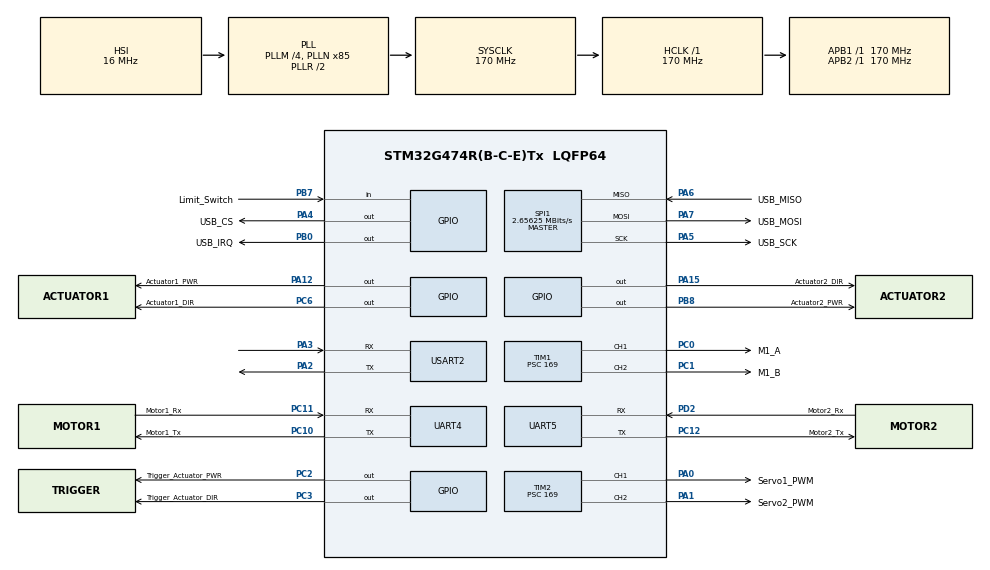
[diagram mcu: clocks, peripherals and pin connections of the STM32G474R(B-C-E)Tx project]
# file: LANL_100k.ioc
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Mcu.Family=STM32G4
Mcu.Name=STM32G474R(B-C-E)Tx
Mcu.Package=LQFP64
NVIC.PriorityGroup=NVIC_PRIORITYGROUP_4
NVIC.UART5_IRQn=true\:0\:0\:false\:false\:true\:true\:true\:true
NVIC.USART2_IRQn=true\:0\:0\:false\:false\:true\:true\:true\:true
PA0.GPIO_Label=Servo1_PWM
PA0.Signal=S_TIM2_CH1
PA1.GPIO_Label=Servo2_PWM
PA1.Signal=S_TIM2_CH2
PA12.GPIO_Label=Actuator1_PWR
PA12.PinState=GPIO_PIN_SET
PA12.Signal=GPIO_Output
PA13.GPIO_Label=T_SWDIO
PA13.Signal=SYS_JTMS-SWDIO
PA14.GPIO_Label=T_SWCLK
PA14.Signal=SYS_JTCK-SWCLK
PA15.GPIO_Label=Actuator2_DIR
PA15.PinState=GPIO_PIN_SET
PA15.Signal=GPIO_Output
PA2.Mode=Asynchronous
PA2.Signal=USART2_TX
PA3.Mode=Asynchronous
PA3.Signal=USART2_RX
PA4.GPIO_Label=USB_CS
PA4.PinState=GPIO_PIN_SET
PA4.Signal=GPIO_Output
PA5.GPIO_Label=USB_SCK
PA5.Mode=Full_Duplex_Master
PA5.Signal=SPI1_SCK
PA6.GPIO_Label=USB_MISO
PA6.Mode=Full_Duplex_Master
PA6.Signal=SPI1_MISO
PA7.GPIO_Label=USB_MOSI
PA7.Mode=Full_Duplex_Master
PA7.Signal=SPI1_MOSI
PB0.GPIO_Label=USB_IRQ
PB0.Signal=GPIO_Output
PB3.GPIO_Label=T_SWO
PB3.Signal=SYS_JTDO-SWO
PB7.GPIO_Label=Limit_Switch
PB7.GPIO_PuPd=GPIO_PULLDOWN
PB7.Signal=GPIO_Input
PB8-BOOT0.GPIO_Label=Actuator2_PWR
PB8-BOOT0.PinState=GPIO_PIN_SET
PB8-BOOT0.Signal=GPIO_Output
PC0.GPIO_Label=M1_A
PC0.Signal=S_TIM1_CH1
PC1.GPIO_Label=M1_B
PC1.Signal=S_TIM1_CH2
PC10.GPIO_Label=Motor1_Tx
PC10.Mode=Asynchronous
PC10.Signal=UART4_TX
PC11.GPIO_Label=Motor1_Rx
PC11.Mode=Asynchronous
PC11.Signal=UART4_RX
PC12.GPIO_Label=Motor2_Tx
PC12.Mode=Asynchronous
PC12.Signal=UART5_TX
PC14-OSC32_IN.GPIO_Label=RCC_OSC32_IN
PC14-OSC32_IN.Signal=RCC_OSC32_IN
PC15-OSC32_OUT.GPIO_Label=RCC_OSC32_OUT
PC15-OSC32_OUT.Signal=RCC_OSC32_OUT
PC2.GPIO_Label=Trigger_Actuator_PWR
PC2.Signal=GPIO_Output
PC3.GPIO_Label=Trigger_Actuator_DIR
PC3.Signal=GPIO_Output
PC6.GPIO_Label=Actuator1_DIR
PC6.PinState=GPIO_PIN_SET
PC6.Signal=GPIO_Output
PD2.GPIO_Label=Motor2_Rx
PD2.Mode=Asynchronous
PD2.Signal=UART5_RX
PF0-OSC_IN.GPIO_Label=RCC_OSC_IN
PF0-OSC_IN.Signal=RCC_OSC_IN
PF1-OSC_OUT.GPIO_Label=RCC_OSC_OUT
PF1-OSC_OUT.Signal=RCC_OSC_OUT
ProjectManager.HeapSize=0x200
ProjectManager.StackSize=0x400
ProjectManager.TargetToolchain=STM32CubeIDE
RCC.ADC12Freq_Value=170000000
RCC.ADC345Freq_Value=170000000
RCC.AHBFreq_Value=170000000
RCC.APB1Freq_Value=170000000
RCC.APB1TimFreq_Value=170000000
RCC.APB2Freq_Value=170000000
RCC.APB2TimFreq_Value=170000000
RCC.CortexFreq_Value=170000000
RCC.EXTERNAL_CLOCK_VALUE=12288000
RCC.HCLKFreq_Value=170000000
RCC.HSE_VALUE=24000000
RCC.HSI48_VALUE=48000000
RCC.HSI_VALUE=16000000
RCC.LSE_VALUE=32768
RCC.PLLM=RCC_PLLM_DIV4
RCC.PLLN=85
RCC.RTCClockSelection=RCC_RTCCLKSOURCE_LSE
RCC.SYSCLKFreq_VALUE=170000000
RCC.SYSCLKSource=RCC_SYSCLKSOURCE_PLLCLK
RCC.USBFreq_Value=170000000
RCC.VCOOutputFreq_Value=340000000
SH.S_TIM1_CH1.0=TIM1_CH1,PWM Generation1 CH1
SH.S_TIM1_CH2.0=TIM1_CH2,PWM Generation2 CH2
SH.S_TIM2_CH1.0=TIM2_CH1,PWM Generation1 CH1
SH.S_TIM2_CH2.0=TIM2_CH2,PWM Generation2 CH2
SPI1.BaudRatePrescaler=SPI_BAUDRATEPRESCALER_64
SPI1.CLKPhase=SPI_PHASE_1EDGE
SPI1.CLKPolarity=SPI_POLARITY_LOW
SPI1.CalculateBaudRate=2.65625 MBits/s
SPI1.DataSize=SPI_DATASIZE_8BIT
SPI1.Direction=SPI_DIRECTION_2LINES
SPI1.Mode=SPI_MODE_MASTER
SPI1.VirtualType=VM_MASTER
TIM1.AutoReloadPreload=TIM_AUTORELOAD_PRELOAD_ENABLE
TIM1.Channel-PWM\ Generation1\ CH1=TIM_CHANNEL_1
TIM1.Channel-PWM\ Generation2\ CH2=TIM_CHANNEL_2
TIM1.OCFastMode_PWM-PWM\ Generation1\ CH1=TIM_OCFAST_ENABLE
TIM1.OCFastMode_PWM-PWM\ Generation2\ CH2=TIM_OCFAST_ENABLE
TIM1.PeriodNoDither=3029
TIM1.Prescaler=169
TIM2.AutoReloadPreload=TIM_AUTORELOAD_PRELOAD_ENABLE
TIM2.Channel-PWM\ Generation1\ CH1=TIM_CHANNEL_1
TIM2.Channel-PWM\ Generation2\ CH2=TIM_CHANNEL_2
TIM2.PeriodNoDither=3030
TIM2.Prescaler=169
USART2.VirtualMode-Asynchronous=VM_ASYNC
VP_SYS_VS_DBSignals.Mode=DisableDeadBatterySignals
board=NUCLEO-G474RE

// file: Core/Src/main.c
/* USER CODE BEGIN Header */
/**
  ******************************************************************************
  * @file           : main.c
  * @brief          : Main program body
  ******************************************************************************
  * @attention
  *
  * Copyright (c) 2026 STMicroelectronics.
  * All rights reserved.
  *
  * This software is licensed under terms that can be found in the LICENSE file
  * in the root directory of this software component.
  * If no LICENSE file comes with this software, it is provided AS-IS.
  *
  ******************************************************************************
  */
/* USER CODE END Header */
#include "main.h"

/* USER CODE BEGIN Includes */
/**
 * Development of Instrumentation for Grab Sampling in 100k Tank
 * Use a USB port for USART2 communications. Use a serial PuTTY terminal on select COM# port with 115200 baud
 * Do not use HAL_DELAY inside the while inside keystroke timer logic, Sampling script should exist outside of this timer.
 * Many of the Current User Functions for Motion Aren't currently implemented in the While() core of the Program
 */
/* USER CODE END Includes */

SPI_HandleTypeDef hspi1;

TIM_HandleTypeDef htim1;
TIM_HandleTypeDef htim2;

UART_HandleTypeDef huart4;
UART_HandleTypeDef huart5;
UART_HandleTypeDef huart2;

/* USER CODE BEGIN PV */

UART_HandleTypeDef huart2;

uint8_t g_key_data = 0;      // Stores the received character
uint8_t g_new_key_flag = 0;

uint8_t tx_buffer[27] = "GRAB SAMPLER READY\n\r";
uint8_t tx_return[4] = "\n\r";
uint8_t rx_indx;
uint8_t rx_data[1];
uint8_t rx_buffer[100];
uint8_t transfer_cplt;
/*
 * Duty: 0 -> STM32 Hex: {0x80, 0x20, 0x00, 0x00, 0x5B, 0xFE}
Duty: 4000 -> STM32 Hex: {0x80, 0x20, 0x0F, 0xA0, 0xFE, 0x2A}
Duty: 8000 -> STM32 Hex: {0x80, 0x20, 0x1F, 0x40, 0x00, 0x77}
Duty: 10000 -> STM32 Hex: {0x80, 0x20, 0x27, 0x10, 0xD6, 0xBE}
Duty: 20000 -> STM32 Hex: {0x80, 0x20, 0x4E, 0x20, 0x51, 0x5F}
Duty: 25000 -> STM32 Hex: {0x80, 0x20, 0x61, 0xA8, 0x57, 0x07}
Duty: 30000 -> STM32 Hex: {0x80, 0x20, 0x75, 0x30, 0x9A, 0x01}
Duty: 32000 -> STM32 Hex: {0x80, 0x20, 0x7D, 0x00, 0x25, 0xFB}
Duty: 30000 -> STM32 Hex: {0x80, 0x20, 0x75, 0x30, 0x9A, 0x01}
Duty: 25000 -> STM32 Hex: {0x80, 0x20, 0x61, 0xA8, 0x57, 0x07}
Duty: 20000 -> STM32 Hex: {0x80, 0x20, 0x4E, 0x20, 0x51, 0x5F}
Duty: 10000 -> STM32 Hex: {0x80, 0x20, 0x27, 0x10, 0xD6, 0xBE}
Duty: 8000 -> STM32 Hex: {0x80, 0x20, 0x1F, 0x40, 0x00, 0x77}
Duty: 4000 -> STM32 Hex: {0x80, 0x20, 0x0F, 0xA0, 0xFE, 0x2A}
Duty: 0 -> STM32 Hex: {0x80, 0x20, 0x00, 0x00, 0x5B, 0xFE}

 */

const uint8_t RC_ACCEL_FULLFORWARD[] = {0x80, 0x34, 0x75, 0x30, 0x00, 0x00, 0x17, 0x70, 0x8B, 0xCA};//Acceleration Commands ripped from Arduino Libraries
const uint8_t RC_ACCEL_FULLREVERSE[] = {0x80, 0x34, 0x8A, 0xD0, 0x00, 0x00, 0x17, 0x70, 0xE4, 0x79};
const uint8_t RC_ACCEL_STOP[] = {0x80, 0x34, 0x00, 0x00, 0x00, 0x00, 0x17, 0x70, 0x81, 0xB9};

//uint8_t sampling_halt_flag = 0;
/* USER CODE END PV */

void SystemClock_Config(void);
static void MX_GPIO_Init(void);
static void MX_SPI1_Init(void);
static void MX_TIM2_Init(void);
static void MX_UART4_Init(void);
static void MX_UART5_Init(void);
static void MX_TIM1_Init(void);
static void MX_USART2_UART_Init(void);
/* USER CODE BEGIN PFP */

uint8_t MAX_Register_Read(uint8_t reg)//For USB Host Shield When Implemented
{
	uint8_t address = (reg << 3) | 0x00;//Address
	uint8_t data = 0;//RD/WR
	uint8_t dummy = 0x00;
	//CS to activate
	HAL_GPIO_WritePin(USB_CS_GPIO_Port, USB_CS_Pin, GPIO_PIN_RESET);
	//for(volatile int i=0; i<100; i++);
	//Send Register Request 8bits
	HAL_SPI_Transmit(&hspi1,&address,1,10);
	//REceieve Reg COntent 8bits
	HAL_SPI_TransmitReceive(&hspi1, &dummy, &data, 1, 10);

	HAL_SPI_Transmit(&hspi1,&address,1,10);
		//REceieve Reg COntent 8bits
		HAL_SPI_TransmitReceive(&hspi1, &dummy, &data, 1, 10);
	//Kill CS to end
	//for(volatile int i=0; i<100; i++);
	HAL_GPIO_WritePin(USB_CS_GPIO_Port, USB_CS_Pin, GPIO_PIN_SET);
	return data;
}

void Screw_Forward(void){}
void Screw_Backward(void){}
void Screw_Pivot_Left(void){}
void Screw_Pivot_Right(void){}
void Screw_Stop(void){}

void Change_Barrell(void){}
void Drill_Forward(void){}
void Drill_Reverse(void){}
void Drill_Stop(void){}

void Actuator1_Forward(void)
{
	if(HAL_GPIO_ReadPin(Actuator1_DIR_GPIO_Port,Actuator1_DIR_Pin) == GPIO_PIN_RESET){
		return;
		}
		else{
			HAL_GPIO_WritePin(Actuator1_PWR_GPIO_Port,    Actuator1_PWR_Pin,    GPIO_PIN_RESET);     // Power off
			HAL_Delay(5);
			HAL_GPIO_WritePin(Actuator1_DIR_GPIO_Port, Actuator1_DIR_Pin, GPIO_PIN_RESET);  // Forward direction
			HAL_Delay(5);
			HAL_GPIO_WritePin(Actuator1_PWR_GPIO_Port,    Actuator1_PWR_Pin,    GPIO_PIN_SET);     // Power on
		}
}

/* Turn on Actuator 1 Reverse */
void Actuator1_Reverse(void)
{
	if(HAL_GPIO_ReadPin(Actuator1_DIR_GPIO_Port,Actuator1_DIR_Pin) == GPIO_PIN_SET){
		return;
	}
	else{
	    HAL_GPIO_WritePin(Actuator1_PWR_GPIO_Port,    Actuator1_PWR_Pin,    GPIO_PIN_RESET);    // Power off
	    HAL_Delay(5);
	    HAL_GPIO_WritePin(Actuator1_DIR_GPIO_Port, Actuator1_DIR_Pin, GPIO_PIN_SET);    // Reverse direction
	    HAL_Delay(5);
	    HAL_GPIO_WritePin(Actuator1_PWR_GPIO_Port,    Actuator1_PWR_Pin,    GPIO_PIN_SET);    // Power on
	}
}

/* Turn off Actuator 1 */
void Actuator1_Stop(void)
{
    HAL_GPIO_WritePin(Actuator1_PWR_GPIO_Port, Actuator1_PWR_Pin, GPIO_PIN_RESET);
    HAL_GPIO_WritePin(Actuator1_DIR_GPIO_Port, Actuator1_DIR_Pin, GPIO_PIN_RESET);// Power off
}

/* Turn on Actuator 2 Forward */
void Actuator2_Forward(void)
{
	if(HAL_GPIO_ReadPin(Actuator2_DIR_GPIO_Port,Actuator2_DIR_Pin) == GPIO_PIN_RESET){
		return;
	}
	else{
		HAL_GPIO_WritePin(Actuator2_PWR_GPIO_Port,    Actuator2_PWR_Pin,    GPIO_PIN_RESET);     // Power off
		HAL_Delay(5);
		HAL_GPIO_WritePin(Actuator2_DIR_GPIO_Port, Actuator2_DIR_Pin, GPIO_PIN_RESET);  // Forward direction
		HAL_Delay(5);
		HAL_GPIO_WritePin(Actuator2_PWR_GPIO_Port,    Actuator2_PWR_Pin,    GPIO_PIN_SET);     // Power on
	}
}

/* Turn on Actuator 2 Reverse */
void Actuator2_Reverse(void)
{
	if(HAL_GPIO_ReadPin(Actuator2_DIR_GPIO_Port,Actuator2_DIR_Pin) == GPIO_PIN_SET){
		return;
	}
	else{
		HAL_GPIO_WritePin(Actuator2_PWR_GPIO_Port, Actuator2_PWR_Pin, GPIO_PIN_RESET);    // Power off
		HAL_Delay(5);
		HAL_GPIO_WritePin(Actuator2_DIR_GPIO_Port, Actuator2_DIR_Pin, GPIO_PIN_SET);    // Reverse direction
		HAL_Delay(5);
		HAL_GPIO_WritePin(Actuator2_PWR_GPIO_Port,    Actuator2_PWR_Pin,    GPIO_PIN_SET);    // Power on
	}
}

/* Turn off Actuator 2 */
void Actuator2_Stop(void)
{
    HAL_GPIO_WritePin(Actuator2_PWR_GPIO_Port, Actuator2_PWR_Pin, GPIO_PIN_RESET);
    HAL_GPIO_WritePin(Actuator2_DIR_GPIO_Port, Actuator2_DIR_Pin, GPIO_PIN_RESET);// Power off
}
/* Turn on Trigger Controlling Actuator in reverse */
void Trigger_Actuator_Reverse(void)
{
	if(HAL_GPIO_ReadPin(Trigger_Actuator_DIR_GPIO_Port,Trigger_Actuator_DIR_Pin) == GPIO_PIN_RESET){
		return;
	}
	else{
		HAL_GPIO_WritePin(Trigger_Actuator_PWR_GPIO_Port,    Trigger_Actuator_PWR_Pin,    GPIO_PIN_RESET);     // Power off
		HAL_Delay(5);
		HAL_GPIO_WritePin(Trigger_Actuator_DIR_GPIO_Port, Trigger_Actuator_DIR_Pin, GPIO_PIN_RESET);  // Forward direction
		HAL_Delay(5);
		HAL_GPIO_WritePin(Trigger_Actuator_PWR_GPIO_Port,    Trigger_Actuator_PWR_Pin,    GPIO_PIN_SET);     // Power on
	}
}

/* Turn on Trigger controller forward */
void Trigger_Actuator_Forward(void)
{
	if(HAL_GPIO_ReadPin(Trigger_Actuator_DIR_GPIO_Port,Trigger_Actuator_DIR_Pin) == GPIO_PIN_SET){
		return;
	}
	else{
		HAL_GPIO_WritePin(Trigger_Actuator_PWR_GPIO_Port, Trigger_Actuator_PWR_Pin, GPIO_PIN_RESET);    // Power off
		HAL_Delay(5);
		HAL_GPIO_WritePin(Trigger_Actuator_DIR_GPIO_Port, Trigger_Actuator_DIR_Pin, GPIO_PIN_SET);    // Reverse direction
		HAL_Delay(5);
		HAL_GPIO_WritePin(Trigger_Actuator_PWR_GPIO_Port,    Trigger_Actuator_PWR_Pin,    GPIO_PIN_SET);    // Power on
	}
}

/* Turn off Trigger Controlling Actuator */
void Trigger_Actuator_Stop(void)
{
    HAL_GPIO_WritePin(Trigger_Actuator_PWR_GPIO_Port, Trigger_Actuator_PWR_Pin, GPIO_PIN_RESET);
    HAL_GPIO_WritePin(Trigger_Actuator_DIR_GPIO_Port, Trigger_Actuator_DIR_Pin, GPIO_PIN_RESET);// Power off
}
void M1_A(void)
{
    HAL_GPIO_WritePin(M1_A_GPIO_Port, M1_A_Pin, GPIO_PIN_SET);
}
// Function to set roller motor speed as a percentage
void M1_Fwd_Set_Speed(float Full_Speed_Percent){

	//uint8_t periodSet = Full_Speed_Percent;

}
void Sampling_Script(void)
{
	/*
	 * Rotate barrel to empty sample
	 * Push drill, rotate to engage lock
	 * Pull Drill and Sample bit out of barrel changer
	 * Maybe re adjust the Barrel
	 * Raise sampling platform
	 * Correct drill direction and start drill
	 * Push drill into ground while Drilling to cut sample
	 * Stop Drill
	 * Pull drill out of ground
	 * lower platform
	 * Adjust Barrel
	 * push sample into barrel
	 * Reverse drill direction with short rotation
	 * Pull drill a little
	 *
	 * -----End of process.
	 */
}

/* USER CODE END PFP */

int main(void)
{

  /* MCU Configuration--------------------------------------------------------*/

  /* Reset of all peripherals, Initializes the Flash interface and the Systick. */
  HAL_Init();

  /* Configure the system clock */
  SystemClock_Config();

  /* Initialize all configured peripherals */
  MX_GPIO_Init();
  MX_SPI1_Init();
  MX_TIM2_Init();
  MX_UART4_Init();
  MX_UART5_Init();
  MX_TIM1_Init();
  MX_USART2_UART_Init();
  /* USER CODE BEGIN 2 */
  uint32_t lskeytime = 0;//Keystroke Timer Variables
  const uint32_t timeout = 250;//Refresh time ms
  char input = 0;

  HAL_TIM_PWM_Start(&htim2, TIM_CHANNEL_1);// Initialize/Default spot for PWM servo
  __HAL_TIM_SET_COMPARE(&htim2, TIM_CHANNEL_1, 1500);
  uint32_t servoPos = 1495;

  HAL_UART_Transmit(&huart2, tx_buffer, 27, 10);//Welcome Message send
  Actuator1_Stop();//Put initial states for pins here if not initialized
  Actuator2_Stop();
  Trigger_Actuator_Stop();

  /* USER CODE END 2 */

  /* Infinite loop */
  while (1){

    /* USER CODE BEGIN 3 */
	  if (HAL_GPIO_ReadPin(Limit_Switch_GPIO_Port, Limit_Switch_Pin) == GPIO_PIN_SET) {//Stops Sampling Arm at Horizontal
			  if (input != 'q' && input != 'Q'){//Prevents Locking While Horizontal
	  	       Actuator1_Stop();
	          }
	  }
	__HAL_TIM_SET_COMPARE(&htim2, TIM_CHANNEL_1, servoPos);
/*	if (sampling_halt_flag[0] == 1)// Proto script for a sampling process
	{
		  Stop_All();
		  Hal_Delay(100);
		  Sampling_Script();
		  HAL_Delay(100);
		  sampling_halt_flag[0] = 0;
	}  */
	if (HAL_UART_Receive(&huart2, rx_data,1,10) == HAL_OK){
		input = (char)rx_data[0];
		lskeytime = HAL_GetTick();
		// For Demonstration HAL_UART_Transmit(&huart2, rx_data, 1, 10); // Returns Current Key to Port for debugging

		if (input == 'q' || input == 'Q'){// Extend Actuator 1
			HAL_GPIO_WritePin(Actuator1_PWR_GPIO_Port, Actuator1_PWR_Pin, GPIO_PIN_SET);
			HAL_GPIO_WritePin(Actuator1_DIR_GPIO_Port, Actuator1_DIR_Pin, GPIO_PIN_RESET);
		}
		if (input == 'w' || input == 'W'){// Extend Actuator 2
			HAL_GPIO_WritePin(Actuator2_PWR_GPIO_Port, Actuator2_PWR_Pin, GPIO_PIN_SET);
			HAL_GPIO_WritePin(Actuator2_DIR_GPIO_Port, Actuator2_DIR_Pin, GPIO_PIN_RESET);
		}
		if (input == 'e' || input == 'E'){// Small Servo Limits at around 310 and 2670
			//__HAL_TIM_SET_COMPARE(&htim2, TIM_CHANNEL_1, servoPos);// Move Servo to Position
			if (servoPos <= 2670){
				servoPos = servoPos + 20;
			}
		}
		if (input == 'r' || input == 'R'){// Trigger Actuator
			HAL_GPIO_WritePin(Trigger_Actuator_PWR_GPIO_Port, Trigger_Actuator_PWR_Pin, GPIO_PIN_SET);
			HAL_GPIO_WritePin(Trigger_Actuator_DIR_GPIO_Port, Trigger_Actuator_DIR_Pin, GPIO_PIN_SET);
		}
		if (input == 't' || input == 'T'){// Extend Actuator 2

		}
		if (input == 'a' || input == 'A'){// Retract Actuator 1

			if (HAL_GPIO_ReadPin(Limit_Switch_GPIO_Port, Limit_Switch_Pin) == GPIO_PIN_RESET) {// Unless Limit Is Hit
				HAL_GPIO_WritePin(Actuator1_PWR_GPIO_Port, Actuator1_PWR_Pin, GPIO_PIN_SET);
				HAL_GPIO_WritePin(Actuator1_DIR_GPIO_Port, Actuator1_DIR_Pin, GPIO_PIN_SET);

			}
		}
		if (input == 's' || input == 'S'){// Retract Actuator 2
			HAL_GPIO_WritePin(Actuator2_PWR_GPIO_Port, Actuator2_PWR_Pin, GPIO_PIN_SET);
			HAL_GPIO_WritePin(Actuator2_DIR_GPIO_Port, Actuator2_DIR_Pin, GPIO_PIN_SET);
		}
		if (input == 'd' || input == 'D'){//Direction Servo Controls, Use servoPos to gradually change and COMPARE to set position
			//__HAL_TIM_SET_COMPARE(&htim2, TIM_CHANNEL_1, servoPos);
			if (servoPos >= 310){
			servoPos = servoPos - 20;
			}
		}
		if (input == 'f' || input == 'F'){// Extend Drill Trigger Actuator
			HAL_GPIO_WritePin(Trigger_Actuator_DIR_GPIO_Port, Trigger_Actuator_DIR_Pin, GPIO_PIN_RESET);
			HAL_GPIO_WritePin(Trigger_Actuator_PWR_GPIO_Port, Trigger_Actuator_PWR_Pin, GPIO_PIN_SET);
		}
		if (input == 'g' || input == 'G'){// Extend Actuator 2

		}
		if (input == 'i' || input == 'I'){// Left Motor Control
					HAL_UART_Transmit(&huart5, (uint8_t*)RC_ACCEL_FULLFORWARD, 10, 10);  // Forward direction
				}
		if (input == 'k' || input == 'K'){// Left Motor Control
					HAL_UART_Transmit(&huart5, (uint8_t*)RC_ACCEL_FULLREVERSE, 10, 10);  // Forward direction
				}
		if (input == 'y' || input == 'Y'){//

		}
		if (input == 'h' || input == 'H'){//

		}
		if (input == ' '){// MISC Reverse
			Actuator1_Stop();
			Actuator2_Stop();
			Trigger_Actuator_Stop();

		}
	}
	if (input != 0 && (HAL_GetTick() - lskeytime > timeout)){
/* For Demonstration
		Actuator1_Stop();
		Actuator2_Stop();
		Trigger_Actuator_Stop();
*/
		HAL_UART_Transmit(&huart5, (uint8_t*)RC_ACCEL_STOP, 10, 10);
		input = 0;

	}
	 //Control and Comms Logic

  }
  /* USER CODE END 3 */
}

void SystemClock_Config(void)
{
  RCC_OscInitTypeDef RCC_OscInitStruct = {0};
  RCC_ClkInitTypeDef RCC_ClkInitStruct = {0};

  /** Configure the main internal regulator output voltage
  */
  HAL_PWREx_ControlVoltageScaling(PWR_REGULATOR_VOLTAGE_SCALE1_BOOST);

  /** Initializes the RCC Oscillators according to the specified parameters
  * in the RCC_OscInitTypeDef structure.
  */
  RCC_OscInitStruct.OscillatorType = RCC_OSCILLATORTYPE_HSI;
  RCC_OscInitStruct.HSIState = RCC_HSI_ON;
  RCC_OscInitStruct.HSICalibrationValue = RCC_HSICALIBRATION_DEFAULT;
  RCC_OscInitStruct.PLL.PLLState = RCC_PLL_ON;
  RCC_OscInitStruct.PLL.PLLSource = RCC_PLLSOURCE_HSI;
  RCC_OscInitStruct.PLL.PLLM = RCC_PLLM_DIV4;
  RCC_OscInitStruct.PLL.PLLN = 85;
  RCC_OscInitStruct.PLL.PLLP = RCC_PLLP_DIV2;
  RCC_OscInitStruct.PLL.PLLQ = RCC_PLLQ_DIV2;
  RCC_OscInitStruct.PLL.PLLR = RCC_PLLR_DIV2;
  if (HAL_RCC_OscConfig(&RCC_OscInitStruct) != HAL_OK)
  {
    Error_Handler();
  }

  /** Initializes the CPU, AHB and APB buses clocks
  */
  RCC_ClkInitStruct.ClockType = RCC_CLOCKTYPE_HCLK|RCC_CLOCKTYPE_SYSCLK
                              |RCC_CLOCKTYPE_PCLK1|RCC_CLOCKTYPE_PCLK2;
  RCC_ClkInitStruct.SYSCLKSource = RCC_SYSCLKSOURCE_PLLCLK;
  RCC_ClkInitStruct.AHBCLKDivider = RCC_SYSCLK_DIV1;
  RCC_ClkInitStruct.APB1CLKDivider = RCC_HCLK_DIV1;
  RCC_ClkInitStruct.APB2CLKDivider = RCC_HCLK_DIV1;

  if (HAL_RCC_ClockConfig(&RCC_ClkInitStruct, FLASH_LATENCY_4) != HAL_OK)
  {
    Error_Handler();
  }
}

static void MX_SPI1_Init(void)
{

  /* SPI1 parameter configuration*/
  hspi1.Instance = SPI1;
  hspi1.Init.Mode = SPI_MODE_MASTER;
  hspi1.Init.Direction = SPI_DIRECTION_2LINES;
  hspi1.Init.DataSize = SPI_DATASIZE_8BIT;
  hspi1.Init.CLKPolarity = SPI_POLARITY_LOW;
  hspi1.Init.CLKPhase = SPI_PHASE_1EDGE;
  hspi1.Init.NSS = SPI_NSS_SOFT;
  hspi1.Init.BaudRatePrescaler = SPI_BAUDRATEPRESCALER_64;
  hspi1.Init.FirstBit = SPI_FIRSTBIT_MSB;
  hspi1.Init.TIMode = SPI_TIMODE_DISABLE;
  hspi1.Init.CRCCalculation = SPI_CRCCALCULATION_DISABLE;
  hspi1.Init.CRCPolynomial = 7;
  hspi1.Init.CRCLength = SPI_CRC_LENGTH_DATASIZE;
  hspi1.Init.NSSPMode = SPI_NSS_PULSE_ENABLE;
  if (HAL_SPI_Init(&hspi1) != HAL_OK)
  {
    Error_Handler();
  }

}

static void MX_TIM1_Init(void)
{

  TIM_MasterConfigTypeDef sMasterConfig = {0};
  TIM_OC_InitTypeDef sConfigOC = {0};
  TIM_BreakDeadTimeConfigTypeDef sBreakDeadTimeConfig = {0};

  htim1.Instance = TIM1;
  htim1.Init.Prescaler = 169;
  htim1.Init.CounterMode = TIM_COUNTERMODE_UP;
  htim1.Init.Period = 3029;
  htim1.Init.ClockDivision = TIM_CLOCKDIVISION_DIV1;
  htim1.Init.RepetitionCounter = 0;
  htim1.Init.AutoReloadPreload = TIM_AUTORELOAD_PRELOAD_ENABLE;
  if (HAL_TIM_PWM_Init(&htim1) != HAL_OK)
  {
    Error_Handler();
  }
  sMasterConfig.MasterOutputTrigger = TIM_TRGO_RESET;
  sMasterConfig.MasterOutputTrigger2 = TIM_TRGO2_RESET;
  sMasterConfig.MasterSlaveMode = TIM_MASTERSLAVEMODE_DISABLE;
  if (HAL_TIMEx_MasterConfigSynchronization(&htim1, &sMasterConfig) != HAL_OK)
  {
    Error_Handler();
  }
  sConfigOC.OCMode = TIM_OCMODE_PWM1;
  sConfigOC.Pulse = 0;
  sConfigOC.OCPolarity = TIM_OCPOLARITY_HIGH;
  sConfigOC.OCNPolarity = TIM_OCNPOLARITY_HIGH;
  sConfigOC.OCFastMode = TIM_OCFAST_ENABLE;
  sConfigOC.OCIdleState = TIM_OCIDLESTATE_RESET;
  sConfigOC.OCNIdleState = TIM_OCNIDLESTATE_RESET;
  if (HAL_TIM_PWM_ConfigChannel(&htim1, &sConfigOC, TIM_CHANNEL_1) != HAL_OK)
  {
    Error_Handler();
  }
  if (HAL_TIM_PWM_ConfigChannel(&htim1, &sConfigOC, TIM_CHANNEL_2) != HAL_OK)
  {
    Error_Handler();
  }
  sBreakDeadTimeConfig.OffStateRunMode = TIM_OSSR_DISABLE;
  sBreakDeadTimeConfig.OffStateIDLEMode = TIM_OSSI_DISABLE;
  sBreakDeadTimeConfig.LockLevel = TIM_LOCKLEVEL_OFF;
  sBreakDeadTimeConfig.DeadTime = 0;
  sBreakDeadTimeConfig.BreakState = TIM_BREAK_DISABLE;
  sBreakDeadTimeConfig.BreakPolarity = TIM_BREAKPOLARITY_HIGH;
  sBreakDeadTimeConfig.BreakFilter = 0;
  sBreakDeadTimeConfig.BreakAFMode = TIM_BREAK_AFMODE_INPUT;
  sBreakDeadTimeConfig.Break2State = TIM_BREAK2_DISABLE;
  sBreakDeadTimeConfig.Break2Polarity = TIM_BREAK2POLARITY_HIGH;
  sBreakDeadTimeConfig.Break2Filter = 0;
  sBreakDeadTimeConfig.Break2AFMode = TIM_BREAK_AFMODE_INPUT;
  sBreakDeadTimeConfig.AutomaticOutput = TIM_AUTOMATICOUTPUT_DISABLE;
  if (HAL_TIMEx_ConfigBreakDeadTime(&htim1, &sBreakDeadTimeConfig) != HAL_OK)
  {
    Error_Handler();
  }
  HAL_TIM_MspPostInit(&htim1);

}

static void MX_TIM2_Init(void)
{

  TIM_MasterConfigTypeDef sMasterConfig = {0};
  TIM_OC_InitTypeDef sConfigOC = {0};

  htim2.Instance = TIM2;
  htim2.Init.Prescaler = 169;
  htim2.Init.CounterMode = TIM_COUNTERMODE_UP;
  htim2.Init.Period = 3030;
  htim2.Init.ClockDivision = TIM_CLOCKDIVISION_DIV1;
  htim2.Init.AutoReloadPreload = TIM_AUTORELOAD_PRELOAD_ENABLE;
  if (HAL_TIM_PWM_Init(&htim2) != HAL_OK)
  {
    Error_Handler();
  }
  sMasterConfig.MasterOutputTrigger = TIM_TRGO_RESET;
  sMasterConfig.MasterSlaveMode = TIM_MASTERSLAVEMODE_DISABLE;
  if (HAL_TIMEx_MasterConfigSynchronization(&htim2, &sMasterConfig) != HAL_OK)
  {
    Error_Handler();
  }
  sConfigOC.OCMode = TIM_OCMODE_PWM1;
  sConfigOC.Pulse = 0;
  sConfigOC.OCPolarity = TIM_OCPOLARITY_HIGH;
  sConfigOC.OCFastMode = TIM_OCFAST_DISABLE;
  if (HAL_TIM_PWM_ConfigChannel(&htim2, &sConfigOC, TIM_CHANNEL_1) != HAL_OK)
  {
    Error_Handler();
  }
  if (HAL_TIM_PWM_ConfigChannel(&htim2, &sConfigOC, TIM_CHANNEL_2) != HAL_OK)
  {
    Error_Handler();
  }
  HAL_TIM_MspPostInit(&htim2);

}

static void MX_UART4_Init(void)
{

  huart4.Instance = UART4;
  huart4.Init.BaudRate = 115200;
  huart4.Init.WordLength = UART_WORDLENGTH_8B;
  huart4.Init.StopBits = UART_STOPBITS_1;
  huart4.Init.Parity = UART_PARITY_NONE;
  huart4.Init.Mode = UART_MODE_TX_RX;
  huart4.Init.HwFlowCtl = UART_HWCONTROL_NONE;
  huart4.Init.OverSampling = UART_OVERSAMPLING_16;
  huart4.Init.OneBitSampling = UART_ONE_BIT_SAMPLE_DISABLE;
  huart4.Init.ClockPrescaler = UART_PRESCALER_DIV1;
  huart4.AdvancedInit.AdvFeatureInit = UART_ADVFEATURE_NO_INIT;
  if (HAL_UART_Init(&huart4) != HAL_OK)
  {
    Error_Handler();
  }
  if (HAL_UARTEx_SetTxFifoThreshold(&huart4, UART_TXFIFO_THRESHOLD_1_8) != HAL_OK)
  {
    Error_Handler();
  }
  if (HAL_UARTEx_SetRxFifoThreshold(&huart4, UART_RXFIFO_THRESHOLD_1_8) != HAL_OK)
  {
    Error_Handler();
  }
  if (HAL_UARTEx_DisableFifoMode(&huart4) != HAL_OK)
  {
    Error_Handler();
  }

}

static void MX_UART5_Init(void)
{

  huart5.Instance = UART5;
  huart5.Init.BaudRate = 115200;
  huart5.Init.WordLength = UART_WORDLENGTH_8B;
  huart5.Init.StopBits = UART_STOPBITS_1;
  huart5.Init.Parity = UART_PARITY_NONE;
  huart5.Init.Mode = UART_MODE_TX_RX;
  huart5.Init.HwFlowCtl = UART_HWCONTROL_NONE;
  huart5.Init.OverSampling = UART_OVERSAMPLING_16;
  huart5.Init.OneBitSampling = UART_ONE_BIT_SAMPLE_DISABLE;
  huart5.Init.ClockPrescaler = UART_PRESCALER_DIV1;
  huart5.AdvancedInit.AdvFeatureInit = UART_ADVFEATURE_NO_INIT;
  if (HAL_UART_Init(&huart5) != HAL_OK)
  {
    Error_Handler();
  }
  if (HAL_UARTEx_SetTxFifoThreshold(&huart5, UART_TXFIFO_THRESHOLD_1_8) != HAL_OK)
  {
    Error_Handler();
  }
  if (HAL_UARTEx_SetRxFifoThreshold(&huart5, UART_RXFIFO_THRESHOLD_1_8) != HAL_OK)
  {
    Error_Handler();
  }
  if (HAL_UARTEx_DisableFifoMode(&huart5) != HAL_OK)
  {
    Error_Handler();
  }

}

static void MX_USART2_UART_Init(void)
{

  huart2.Instance = USART2;
  huart2.Init.BaudRate = 115200;
  huart2.Init.WordLength = UART_WORDLENGTH_8B;
  huart2.Init.StopBits = UART_STOPBITS_1;
  huart2.Init.Parity = UART_PARITY_NONE;
  huart2.Init.Mode = UART_MODE_TX_RX;
  huart2.Init.HwFlowCtl = UART_HWCONTROL_NONE;
  huart2.Init.OverSampling = UART_OVERSAMPLING_16;
  huart2.Init.OneBitSampling = UART_ONE_BIT_SAMPLE_DISABLE;
  huart2.Init.ClockPrescaler = UART_PRESCALER_DIV1;
  huart2.AdvancedInit.AdvFeatureInit = UART_ADVFEATURE_NO_INIT;
  if (HAL_UART_Init(&huart2) != HAL_OK)
  {
    Error_Handler();
  }
  if (HAL_UARTEx_SetTxFifoThreshold(&huart2, UART_TXFIFO_THRESHOLD_1_8) != HAL_OK)
  {
    Error_Handler();
  }
  if (HAL_UARTEx_SetRxFifoThreshold(&huart2, UART_RXFIFO_THRESHOLD_1_8) != HAL_OK)
  {
    Error_Handler();
  }
  if (HAL_UARTEx_DisableFifoMode(&huart2) != HAL_OK)
  {
    Error_Handler();
  }

}

static void MX_GPIO_Init(void)
{
  GPIO_InitTypeDef GPIO_InitStruct = {0};

  /* GPIO Ports Clock Enable */
  __HAL_RCC_GPIOC_CLK_ENABLE();
  __HAL_RCC_GPIOF_CLK_ENABLE();
  __HAL_RCC_GPIOA_CLK_ENABLE();
  __HAL_RCC_GPIOB_CLK_ENABLE();
  __HAL_RCC_GPIOD_CLK_ENABLE();

  /*Configure GPIO pin Output Level */
  HAL_GPIO_WritePin(GPIOC, Trigger_Actuator_PWR_Pin|Trigger_Actuator_DIR_Pin, GPIO_PIN_RESET);

  /*Configure GPIO pin Output Level */
  HAL_GPIO_WritePin(GPIOA, USB_CS_Pin|Actuator1_PWR_Pin|Actuator2_DIR_Pin, GPIO_PIN_SET);

  /*Configure GPIO pin Output Level */
  HAL_GPIO_WritePin(USB_IRQ_GPIO_Port, USB_IRQ_Pin, GPIO_PIN_RESET);

  /*Configure GPIO pin Output Level */
  HAL_GPIO_WritePin(Actuator1_DIR_GPIO_Port, Actuator1_DIR_Pin, GPIO_PIN_SET);

  /*Configure GPIO pin Output Level */
  HAL_GPIO_WritePin(Actuator2_PWR_GPIO_Port, Actuator2_PWR_Pin, GPIO_PIN_SET);

  /*Configure GPIO pins : Trigger_Actuator_PWR_Pin Trigger_Actuator_DIR_Pin Actuator1_DIR_Pin */
  GPIO_InitStruct.Pin = Trigger_Actuator_PWR_Pin|Trigger_Actuator_DIR_Pin|Actuator1_DIR_Pin;
  GPIO_InitStruct.Mode = GPIO_MODE_OUTPUT_PP;
  GPIO_InitStruct.Pull = GPIO_NOPULL;
  GPIO_InitStruct.Speed = GPIO_SPEED_FREQ_LOW;
  HAL_GPIO_Init(GPIOC, &GPIO_InitStruct);

  /*Configure GPIO pins : USB_CS_Pin Actuator1_PWR_Pin Actuator2_DIR_Pin */
  GPIO_InitStruct.Pin = USB_CS_Pin|Actuator1_PWR_Pin|Actuator2_DIR_Pin;
  GPIO_InitStruct.Mode = GPIO_MODE_OUTPUT_PP;
  GPIO_InitStruct.Pull = GPIO_NOPULL;
  GPIO_InitStruct.Speed = GPIO_SPEED_FREQ_LOW;
  HAL_GPIO_Init(GPIOA, &GPIO_InitStruct);

  /*Configure GPIO pins : USB_IRQ_Pin Actuator2_PWR_Pin */
  GPIO_InitStruct.Pin = USB_IRQ_Pin|Actuator2_PWR_Pin;
  GPIO_InitStruct.Mode = GPIO_MODE_OUTPUT_PP;
  GPIO_InitStruct.Pull = GPIO_NOPULL;
  GPIO_InitStruct.Speed = GPIO_SPEED_FREQ_LOW;
  HAL_GPIO_Init(GPIOB, &GPIO_InitStruct);

  /*Configure GPIO pin : Limit_Switch_Pin */
  GPIO_InitStruct.Pin = Limit_Switch_Pin;
  GPIO_InitStruct.Mode = GPIO_MODE_INPUT;
  GPIO_InitStruct.Pull = GPIO_PULLDOWN;
  HAL_GPIO_Init(Limit_Switch_GPIO_Port, &GPIO_InitStruct);

}

/* USER CODE BEGIN 4 */
/*
int _write(int file, char *ptr, int len)
{
  (void)file;
  int DataIdx;

  for (DataIdx = 0; DataIdx < len; DataIdx++)
  {
    ITM_SendChar(*ptr++);
  }
  return len;
}*/

void HAL_UART_RxCpltCallback(UART_HandleTypeDef *huart)//Controls
{
    UNUSED(huart);

    HAL_UART_Transmit(&huart2, rx_data, 1, 10);
}

// Redirects printf to the Virtual COM Port (USART2)
/*int _write(int file, char *ptr, int len)
{
  HAL_UART_Transmit(&huart2, (uint8_t*)ptr, len, 100);
  return len;
}*/
/* USER CODE END 4 */

void Error_Handler(void)
{
  __disable_irq();
  while (1)
  {
  }
}
